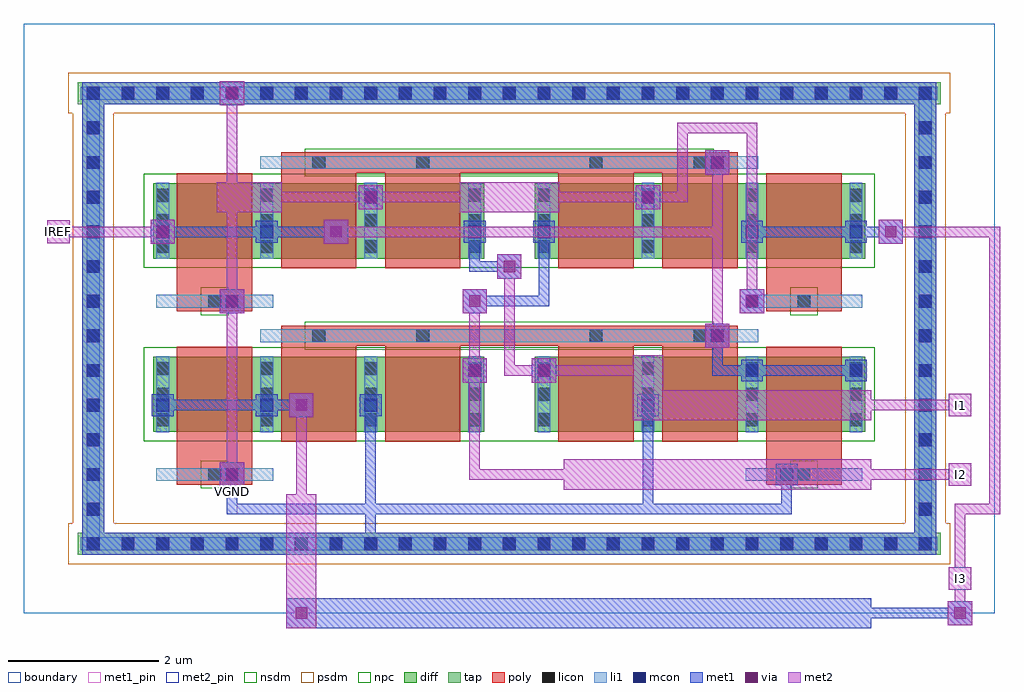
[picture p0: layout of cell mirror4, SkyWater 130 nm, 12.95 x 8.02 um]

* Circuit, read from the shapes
.subckt mirror4 I1 I2 I3 IREF VGND
XM1 I3 VGND I3 VGND sky130_fd_pr__nfet_01v8 w=1 l=1 m=2
XM2 IREF VGND IREF VGND sky130_fd_pr__nfet_01v8 w=1 l=1 m=2
XM3 VGND IREF I3 VGND sky130_fd_pr__nfet_01v8 w=1 l=1 m=2
XM4 VGND IREF IREF VGND sky130_fd_pr__nfet_01v8 w=1 l=1 m=2
XM5 I2 IREF VGND VGND sky130_fd_pr__nfet_01v8 w=1 l=1 m=2
XM6 I1 IREF VGND VGND sky130_fd_pr__nfet_01v8 w=1 l=1 m=2
.ends

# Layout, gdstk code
import gdstk
lib = gdstk.Library(unit=1e-6, precision=1e-09)
def R(c, l, rs):  # rectangles x0, y0, x1, y1
    for r in rs: c.add(gdstk.rectangle(r[:2], r[2:], *l))
def A(c, l, x, y, w, h, nx, ny, dx, dy):  # array of equal rectangles
    R(c, l, [(x+i*dx, y+j*dy, x+i*dx+w, y+j*dy+h) for i in range(nx) for j in range(ny)])
diff = (65, 20)
tap = (65, 44)
poly = (66, 20)
licon = (66, 44)
li1 = (67, 20)
mcon = (67, 44)
met1_pin = (68, 16)
met1 = (68, 20)
via = (68, 44)
met2_pin = (69, 16)
met2 = (69, 20)
nsdm = (93, 44)
psdm = (94, 20)
npc = (95, 20)
boundary = (235, 4)

mirror4 = lib.new_cell('mirror4')
R(mirror4, diff, [(1.715,2.405,6.105,3.405), (6.775,2.405,11.165,3.405), (1.715,4.705,6.105,5.705), (6.775,4.705,11.165,5.705)])
R(mirror4, tap, [(0.715,0.775,12.165,1.065), (0.775,0.775,1.065,7.045), (11.815,0.775,12.105,7.045), (0.715,6.755,12.165,7.045)])
R(mirror4, poly, [(2.03,1.705,3.03,1.975), (9.85,1.705,10.85,1.975), (2.03,1.84,3.03,3.535), (9.85,1.84,10.85,3.535), (3.41,2.275,4.41,3.68), (4.79,2.275,5.79,3.68), (7.09,2.275,8.09,3.68), (8.47,2.275,9.47,3.68), (3.41,3.545,9.47,3.815), (2.03,4.005,3.03,4.275), (9.85,4.005,10.85,4.275), (2.03,4.14,3.03,5.835), (9.85,4.14,10.85,5.835), (3.41,4.575,4.41,5.98), (4.79,4.575,5.79,5.98), (7.09,4.575,8.09,5.98), (8.47,4.575,9.47,5.98), (3.41,5.845,9.47,6.115)])
A(mirror4, licon, 0.835, 0.835, 0.17, 0.17, 25, 2, 0.46, 5.98)
A(mirror4, licon, 0.835, 1.295, 0.17, 0.17, 1, 12, 0, 0.46)
A(mirror4, licon, 11.875, 1.295, 0.17, 0.17, 1, 12, 0, 0.46)
A(mirror4, licon, 1.755, 2.48, 0.17, 0.17, 4, 3, 1.38, 0.34)
A(mirror4, licon, 6.815, 2.48, 0.17, 0.17, 4, 3, 1.38, 0.34)
A(mirror4, licon, 1.755, 4.78, 0.17, 0.17, 4, 3, 1.38, 0.34)
A(mirror4, licon, 6.815, 4.78, 0.17, 0.17, 4, 3, 1.38, 0.34)
R(mirror4, licon, [(2.445,1.755,2.615,1.925), (10.265,1.755,10.435,1.925), (3.825,3.595,3.995,3.765), (5.205,3.595,5.375,3.765), (7.505,3.595,7.675,3.765), (8.885,3.595,9.055,3.765), (2.445,4.055,2.615,4.225), (10.265,4.055,10.435,4.225), (3.825,5.895,3.995,6.065), (5.205,5.895,5.375,6.065), (7.505,5.895,7.675,6.065), (8.885,5.895,9.055,6.065)])
A(mirror4, li1, 1.755, 2.4, 0.17, 1.01, 4, 2, 1.38, 2.3)
A(mirror4, li1, 6.815, 2.4, 0.17, 1.01, 4, 2, 1.38, 2.3)
R(mirror4, li1, [(0.755,0.835,12.125,1.005), (0.835,0.835,1.005,6.985), (11.875,0.835,12.045,6.985), (1.755,1.755,3.305,1.925), (9.575,1.755,11.125,1.925), (3.135,3.595,9.745,3.765), (1.755,4.055,3.305,4.225), (9.575,4.055,11.125,4.225), (3.135,5.895,9.745,6.065), (0.755,6.815,12.125,6.985)])
A(mirror4, mcon, 0.835, 0.835, 0.17, 0.17, 25, 2, 0.46, 5.98)
A(mirror4, mcon, 0.835, 1.295, 0.17, 0.17, 1, 9, 0, 0.46)
A(mirror4, mcon, 11.875, 1.295, 0.17, 0.17, 1, 9, 0, 0.46)
A(mirror4, mcon, 1.755, 2.675, 0.17, 0.17, 3, 1, 1.38, 0)
A(mirror4, mcon, 9.575, 3.135, 0.17, 0.17, 1, 3, 0, 0.92)
A(mirror4, mcon, 0.835, 5.435, 0.17, 0.17, 4, 1, 3.68, 0)
R(mirror4, mcon, [(2.675,1.755,2.845,1.925), (10.035,1.755,10.205,1.925), (8.195,2.675,8.365,2.845), (5.895,3.135,6.065,3.305), (6.815,3.135,6.985,3.305), (10.955,3.135,11.125,3.305), (9.115,3.595,9.285,3.765), (2.675,4.055,2.845,4.225), (1.755,4.975,1.925,5.145), (3.135,4.975,3.305,5.145), (5.895,4.975,6.065,5.145), (6.815,4.975,6.985,5.145), (10.955,4.975,11.125,5.145), (0.835,5.895,1.005,6.065), (9.115,5.895,9.285,6.065), (11.875,5.895,12.045,6.065), (0.835,6.355,1.005,6.525), (11.875,6.355,12.045,6.525)])
R(mirror4, met1_pin, [(2.69,1.31,2.83,1.91)])
A(mirror4, met1, 1.695, 2.615, 0.29, 0.29, 3, 1, 1.38, 0)
A(mirror4, met1, 9.515, 3.075, 0.29, 0.29, 1, 3, 0, 0.92)
R(mirror4, met1, [(3.48,-0.2,3.88,0.2), (3.48,-0.2,11.24,0.2), (12.26,-0.16,12.58,0.16), (10.97,-0.07,12.49,0.07), (0.775,0.775,12.105,1.065), (0.775,0.775,1.065,7.045), (11.815,0.775,12.105,7.045), (4.53,0.85,4.67,0.99), (4.53,0.85,4.67,2.83), (2.69,1.31,2.83,1.91), (2.69,1.31,4.67,1.45), (4.53,1.31,8.35,1.45), (8.21,1.31,10.19,1.45), (8.21,1.31,8.35,2.83), (10.05,1.31,10.19,1.91), (2.6,1.68,2.92,2), (2.615,1.695,2.905,1.985), (9.975,1.695,10.265,1.985), (3.52,2.6,3.84,2.92), (8.135,2.615,8.425,2.905), (1.77,2.69,3.29,2.83), (3.15,2.69,3.75,2.83), (5.82,3.06,6.14,3.38), (6.74,3.06,7.06,3.38), (5.835,3.075,6.125,3.365), (6.755,3.075,7.045,3.365), (10.895,3.075,11.185,3.365), (9.13,3.15,9.73,3.29), (9.13,3.15,9.27,3.75), (9.59,3.15,11.11,3.29), (9.04,3.52,9.36,3.84), (9.055,3.535,9.345,3.825), (2.6,3.98,2.92,4.3), (5.82,3.98,6.14,4.3), (9.5,3.98,9.82,4.3), (2.615,3.995,2.905,4.285), (5.91,4.07,6.97,4.21), (6.83,4.07,6.97,5.13), (6.28,4.44,6.6,4.76), (5.91,4.53,6.51,4.67), (5.91,4.53,6.05,5.13), (1.68,4.9,2,5.22), (3.98,4.9,4.3,5.22), (11.34,4.9,11.66,5.22), (1.695,4.915,1.985,5.205), (3.075,4.915,3.365,5.205), (5.835,4.915,6.125,5.205), (6.755,4.915,7.045,5.205), (10.895,4.915,11.185,5.205), (1.77,4.99,3.29,5.13), (3.15,4.99,4.21,5.13), (9.59,4.99,11.11,5.13), (10.97,4.99,11.57,5.13), (4.44,5.36,4.76,5.68), (8.12,5.36,8.44,5.68), (4.455,5.375,4.745,5.665), (8.135,5.375,8.425,5.665), (9.04,5.82,9.36,6.14), (9.055,5.835,9.345,6.125), (2.6,6.74,2.92,7.06), (0.775,6.755,12.105,7.045), (2.69,6.83,2.83,6.97)])
R(mirror4, via, [(3.605,-0.075,3.755,0.075), (12.345,-0.075,12.495,0.075), (2.685,1.765,2.835,1.915), (3.605,2.685,3.755,2.835), (5.905,3.145,6.055,3.295), (6.825,3.145,6.975,3.295), (9.125,3.605,9.275,3.755), (2.685,4.065,2.835,4.215), (5.905,4.065,6.055,4.215), (9.585,4.065,9.735,4.215), (6.365,4.525,6.515,4.675), (1.765,4.985,1.915,5.135), (4.065,4.985,4.215,5.135), (11.425,4.985,11.575,5.135), (4.525,5.445,4.675,5.595), (8.205,5.445,8.355,5.595), (9.125,5.905,9.275,6.055), (2.685,6.825,2.835,6.975)])
R(mirror4, met2_pin, [(12.27,0.31,12.57,0.61), (12.27,1.69,12.57,1.99), (12.27,2.61,12.57,2.91), (0.31,4.91,0.61,5.21)])
R(mirror4, met2, [(3.48,-0.2,3.88,1.58), (3.48,-0.2,3.88,0.2), (12.26,-0.16,12.58,0.16), (12.35,-0.07,12.49,0.53), (12.27,0.31,12.57,0.61), (12.35,0.39,12.49,0.53), (12.35,0.39,12.49,1.45), (3.61,1.31,3.75,2.83), (12.35,1.31,12.95,1.45), (12.81,1.31,12.95,5.13), (7.16,1.64,11.24,2.04), (2.6,1.68,2.92,2), (12.27,1.69,12.57,1.99), (2.69,1.77,2.83,4.21), (5.91,1.77,7.43,1.91), (5.91,1.77,6.05,3.29), (10.97,1.77,12.49,1.91), (12.35,1.77,12.49,1.91), (8.08,2.56,8.48,3.42), (8.08,2.56,11.24,2.96), (3.52,2.6,3.84,2.92), (12.27,2.61,12.57,2.91), (10.97,2.69,12.49,2.83), (12.35,2.69,12.49,2.83), (5.82,3.06,6.14,3.38), (6.74,3.06,7.06,3.38), (5.91,3.15,6.05,4.21), (6.37,3.15,6.97,3.29), (6.37,3.15,6.51,4.67), (6.83,3.15,8.35,3.29), (9.04,3.52,9.36,3.84), (9.13,3.61,9.27,6.05), (2.6,3.98,2.92,4.3), (5.82,3.98,6.14,4.3), (9.5,3.98,9.82,4.3), (2.69,4.07,2.83,6.97), (9.59,4.07,9.73,6.51), (6.28,4.44,6.6,4.76), (1.68,4.9,2,5.22), (3.98,4.9,4.3,5.22), (11.34,4.9,11.66,5.22), (0.31,4.91,0.61,5.21), (0.39,4.99,0.53,5.13), (0.39,4.99,1.91,5.13), (4.07,4.99,9.27,5.13), (11.43,4.99,12.95,5.13), (2.56,5.32,3.42,5.72), (5.78,5.32,7.1,5.72), (4.44,5.36,4.76,5.68), (8.12,5.36,8.44,5.68), (3.15,5.45,4.67,5.59), (4.53,5.45,6.05,5.59), (6.83,5.45,8.35,5.59), (8.21,5.45,8.81,5.59), (8.67,5.45,8.81,6.51), (9.04,5.82,9.36,6.14), (8.67,6.37,9.73,6.51), (2.6,6.74,2.92,7.06)])
R(mirror4, nsdm, [(1.59,2.28,11.29,3.53), (1.59,4.58,11.29,5.83)])
R(mirror4, psdm, [(0.59,0.65,12.29,1.19), (0.65,1.19,1.19,6.63), (11.69,1.19,12.23,6.63), (0.59,6.63,12.29,7.17)])
R(mirror4, npc, [(2.345,1.655,2.715,2.025), (10.165,1.655,10.535,2.025), (3.725,3.495,9.155,3.865), (2.345,3.955,2.715,4.325), (10.165,3.955,10.535,4.325), (3.725,5.795,9.155,6.165)])
R(mirror4, boundary, [(0,0,12.88,7.82)])
mirror4.add(gdstk.Label('VGND', (2.76,1.61), layer=68, texttype=5))
mirror4.add(gdstk.Label('IREF', (0.46,5.06), layer=69, texttype=5))
mirror4.add(gdstk.Label('I1', (12.42,2.76), layer=69, texttype=5))
mirror4.add(gdstk.Label('I2', (12.42,1.84), layer=69, texttype=5))
mirror4.add(gdstk.Label('I3', (12.42,0.46), layer=69, texttype=5))
mirror4.add(gdstk.Label('VGND', (2.76,1.61), layer=68, texttype=16))
mirror4.add(gdstk.Label('IREF', (0.46,5.06), layer=69, texttype=16))
mirror4.add(gdstk.Label('I1', (12.42,2.76), layer=69, texttype=16))
mirror4.add(gdstk.Label('I2', (12.42,1.84), layer=69, texttype=16))
mirror4.add(gdstk.Label('I3', (12.42,0.46), layer=69, texttype=16))

lib.write_gds('mirror4.gds')
